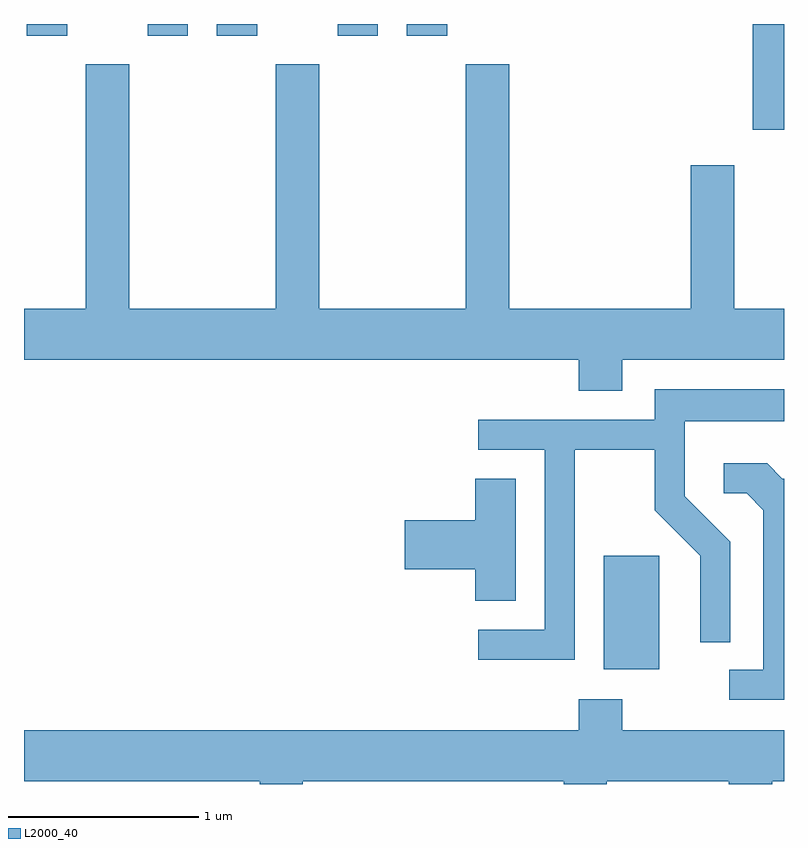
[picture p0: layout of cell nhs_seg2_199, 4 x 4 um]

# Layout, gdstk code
import gdstk
lib = gdstk.Library(unit=1e-6, precision=1e-09)
def R(c, l, rs):  # rectangles x0, y0, x1, y1
    for r in rs: c.add(gdstk.rectangle(r[:2], r[2:], *l))
def P(c, l, *ps):  # polygons
    for p in ps: c.add(gdstk.Polygon(p, *l))
L2000_40 = (2000, 40)

nhs_seg2_199 = lib.new_cell('nhs_seg2_199')
R(nhs_seg2_199, L2000_40, [(192.661,1104.406,192.954,1105.004), (193.446,1107.246,193.611,1107.802), (189.626,1107.741,189.839,1107.802), (190.261,1107.741,190.474,1107.802), (190.626,1107.741,190.839,1107.802), (191.261,1107.741,191.474,1107.802), (191.626,1107.741,191.839,1107.802)])
P(nhs_seg2_199, L2000_40, [(192.759,1106.036),(193.611,1106.036),(193.611,1106.304),(193.349,1106.304),(193.349,1107.059),(193.121,1107.059),(193.121,1106.304),(192.164,1106.304),(192.164,1107.589),(191.936,1107.589),(191.936,1106.304),(191.164,1106.304),(191.164,1107.589),(190.936,1107.589),(190.936,1106.304),(190.164,1106.304),(190.164,1107.589),(189.936,1107.589),(189.936,1106.304),(189.611,1106.304),(189.611,1106.036),(192.531,1106.036),(192.531,1105.871),(192.759,1105.871)],
  [(192.509,1105.561),(192.931,1105.561),(192.931,1105.244),(193.171,1105.004),(193.171,1104.548),(193.329,1104.548),(193.329,1105.077),(193.089,1105.317),(193.089,1105.711),(193.611,1105.711),(193.611,1105.879),(192.931,1105.879),(192.931,1105.719),(192.003,1105.719),(192.003,1105.561),(192.351,1105.561),(192.351,1104.614),(192.003,1104.614),(192.003,1104.456),(192.509,1104.456)],
  [(193.611,1105.409),(193.602,1105.409),(193.522,1105.489),(193.293,1105.489),(193.293,1105.331),(193.414,1105.331),(193.501,1105.244),(193.501,1104.404),(193.323,1104.404),(193.323,1104.246),(193.611,1104.246)],
  [(192.199,1105.409),(191.986,1105.409),(191.986,1105.189),(191.616,1105.189),(191.616,1104.931),(191.986,1104.931),(191.986,1104.766),(192.199,1104.766)],
  [(191.079,1103.816),(192.451,1103.816),(192.451,1103.802),(192.679,1103.802),(192.679,1103.816),(193.321,1103.816),(193.321,1103.802),(193.549,1103.802),(193.549,1103.816),(193.611,1103.816),(193.611,1104.084),(192.759,1104.084),(192.759,1104.249),(192.531,1104.249),(192.531,1104.084),(189.611,1104.084),(189.611,1103.816),(190.851,1103.816),(190.851,1103.802),(191.079,1103.802)])

lib.write_gds('nhs_seg2_199.gds')
